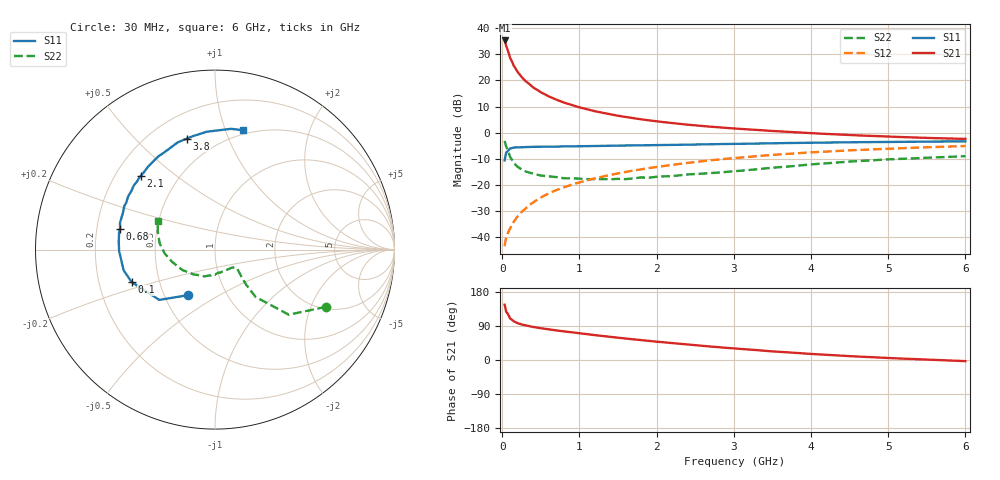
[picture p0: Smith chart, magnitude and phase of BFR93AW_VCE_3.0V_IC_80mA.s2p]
! Infineon Technologies  Discrete & RF Semiconductors
! BFR93AW
! VCE =  3.0 V,  IC =  80 mA
! Common Emitter S-Parameters:  Nov 2015
# GHz  S  MA  R  50
!  f  S11  S21  S12  S22
! GHz  MAG  ANG  MAG  ANG  MAG  ANG  MAG  ANG
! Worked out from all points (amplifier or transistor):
!   206 points, 30 MHz to 6 GHz, reference 50 ohm
!   highest |S21| = 35.3 dB at 30 MHz (marker M1)
!   |S21| within 3 dB of that: start of sweep to 61.94 MHz
!   unconditionally stable (mu >= 1): 184.7 MHz to 2.646 GHz
!   at 200 MHz: K = 1.03, MAG = 26.6 dB, |S12| = -31.9 dB
!   at 1.56 GHz: K = 1.08, MAG = 9.0 dB, |S12| = -15.2 dB
!   at 6 GHz: K = 0.97, MSG = 1.4 dB, |S12| = -5.1 dB
!   S11 on the Smith chart (normalised r, x): 30 MHz: 0.66, -0.37; 100 MHz: 0.35, -0.17; 680 MHz: 0.30, +0.10; 2.1 GHz: 0.31, +0.38; 3.8 GHz: 0.34, +0.72; 6 GHz: 0.46, +1.15
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0.03  0.2953 -120.7  57.93 146.1  0.0068 70.6  0.6958 -27.3
0.05  0.4181 -137.9  45.7 127.3  0.01 66.4  0.5485 -41.4
0.1  0.4984 -158.7  27.19 109.4  0.0147 66.4  0.3474 -49.4
0.15  0.5219 -167.2  18.82 101.7  0.0201 69.9  0.2628 -48.4
0.2  0.5245 -172.2  14.39 97.0  0.0253 73.1  0.2223 -46.6
0.24  0.5279 -175.5  12.14 94.6  0.0295 73.8  0.2021 -45.0
0.26  0.5299 -176.8  11.21 93.3  0.0316 74.2  0.1942 -44.2
0.3  0.534 -178.7  9.719 91.2  0.0355 75.4  0.1826 -43.0
0.4  0.5377 176.5  7.331 87.1  0.0466 76.5  0.1644 -40.9
0.5  0.5391 173.0  5.917 83.8  0.0577 77.4  0.1519 -41.4
0.6  0.5426 170.2  4.959 80.8  0.069 76.6  0.1462 -42.3
0.68  0.5423 167.7  4.417 78.6  0.0778 76.4  0.1429 -44.3
0.8  0.5501 164.2  3.763 75.3  0.0907 76.0  0.135 -48.4
1.04  0.5529 158.0  2.948 69.4  0.1169 74.4  0.1312 -56.6
1.5  0.5678 148.0  2.108 58.8  0.1673 70.6  0.1314 -76.6
2.02  0.5819 136.5  1.637 48.0  0.2239 65.4  0.1455 -98.7
2.1  0.5827 135.0  1.588 46.5  0.2328 64.6  0.1465 -101.1
3.1  0.614 115.9  1.179 29.1  0.3372 53.4  0.1884 -135.1
3.8  0.6378 104.3  1.019 18.8  0.4034 45.0  0.2327 -158.2
4.1  0.6458 99.7  0.964 14.9  0.4292 41.5  0.2541 -166.6
5.1  0.6677 86.8  0.835 4.4  0.5018 30.2  0.3138 171.4
6  0.6826 76.9  0.762 -3.0  0.5575 20.8  0.3567 153.3
